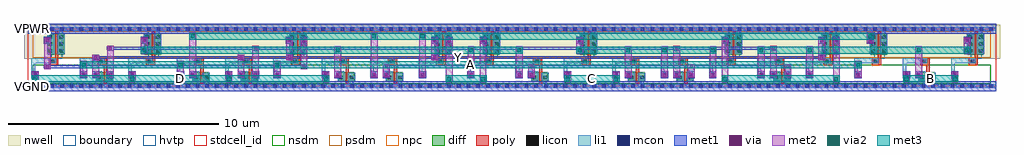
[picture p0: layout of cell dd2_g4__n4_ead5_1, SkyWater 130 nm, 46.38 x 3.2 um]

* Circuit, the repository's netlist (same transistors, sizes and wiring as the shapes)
* Generated reference circuit; dimensions in micrometers.
.subckt dd2_g4__n4_ead5_1 A B C D VGND VNB VPB VPWR Y
XM15 _net7 D VPWR VPB sky130_fd_pr__pfet_01v8_hvt w=1.000 l=0.150
XM8 Y A _net6 VNB sky130_fd_pr__nfet_01v8 w=0.420 l=0.150
XM7 _net4 D VPWR VPB sky130_fd_pr__pfet_01v8_hvt w=1.000 l=0.150
XM4 _net3 A VGND VNB sky130_fd_pr__nfet_01v8 w=0.420 l=0.150
XM9 Y D _net6 VNB sky130_fd_pr__nfet_01v8 w=0.420 l=0.150
XM14 Y A _net7 VPB sky130_fd_pr__pfet_01v8_hvt w=1.000 l=0.150
XM6 _net4 D VGND VNB sky130_fd_pr__nfet_01v8 w=0.420 l=0.150
XM12 _net5 _net3 VGND VNB sky130_fd_pr__nfet_01v8 w=0.420 l=0.150
XM18 Y _net3 _net9 VPB sky130_fd_pr__pfet_01v8_hvt w=1.000 l=0.150
XM19 _net9 _net4 VPWR VPB sky130_fd_pr__pfet_01v8_hvt w=1.000 l=0.150
XM13 _net5 _net4 VGND VNB sky130_fd_pr__nfet_01v8 w=0.420 l=0.150
XM3 _net2 C VPWR VPB sky130_fd_pr__pfet_01v8_hvt w=1.000 l=0.150
XM2 _net2 C VGND VNB sky130_fd_pr__nfet_01v8 w=0.420 l=0.150
XM11 _net6 _net2 _net5 VNB sky130_fd_pr__nfet_01v8 w=0.420 l=0.150
XM17 _net8 _net2 VPWR VPB sky130_fd_pr__pfet_01v8_hvt w=1.000 l=0.150
XM10 _net6 _net1 _net5 VNB sky130_fd_pr__nfet_01v8 w=0.420 l=0.150
XM16 Y _net1 _net8 VPB sky130_fd_pr__pfet_01v8_hvt w=1.000 l=0.150
XM5 _net3 A VPWR VPB sky130_fd_pr__pfet_01v8_hvt w=1.000 l=0.150
XM0 _net1 B VGND VNB sky130_fd_pr__nfet_01v8 w=0.420 l=0.150
XM1 _net1 B VPWR VPB sky130_fd_pr__pfet_01v8_hvt w=1.000 l=0.150
.ends dd2_g4__n4_ead5_1

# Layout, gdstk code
import gdstk
lib = gdstk.Library(unit=1e-6, precision=1e-09)
def R(c, l, rs):  # rectangles x0, y0, x1, y1
    for r in rs: c.add(gdstk.rectangle(r[:2], r[2:], *l))
def A(c, l, x, y, w, h, nx, ny, dx, dy):  # array of equal rectangles
    R(c, l, [(x+i*dx, y+j*dy, x+i*dx+w, y+j*dy+h) for i in range(nx) for j in range(ny)])
nwell = (64, 20)
diff = (65, 20)
poly = (66, 20)
licon = (66, 44)
li1 = (67, 20)
mcon = (67, 44)
met1 = (68, 20)
via = (68, 44)
met2 = (69, 20)
via2 = (69, 44)
met3 = (70, 20)
hvtp = (78, 44)
stdcell_id = (81, 4)
nsdm = (93, 44)
psdm = (94, 20)
npc = (95, 20)
boundary = (235, 4)

dd2_g4__n4_ead5_1 = lib.new_cell('dd2_g4__n4_ead5_1')
R(dd2_g4__n4_ead5_1, nwell, [(-0.19,1.305,46.19,2.91)])
A(dd2_g4__n4_ead5_1, diff, 5.55, 1.485, 0.75, 1, 3, 1, 6.9, 0)
R(dd2_g4__n4_ead5_1, diff, [(3.25,0.235,4,0.655), (7.85,0.235,8.6,0.655), (10.15,0.235,10.9,0.655), (14.75,0.235,15.5,0.655), (17.05,0.235,17.8,0.655), (23.95,0.235,24.7,0.655), (28.55,0.235,29.3,0.655), (30.85,0.235,31.6,0.655), (35.45,0.235,36.2,0.655), (42.35,0.235,43.1,0.655), (0.95,1.485,1.7,2.485), (21.65,1.485,22.4,2.485), (26.25,1.485,27,2.485), (33.15,1.485,33.9,2.485), (37.75,1.485,38.5,2.485), (40.05,1.485,40.8,2.485), (44.65,1.485,45.4,2.485)])
A(dd2_g4__n4_ead5_1, poly, 1.01, 0.995, 0.43, 0.33, 20, 1, 2.3, 0)
A(dd2_g4__n4_ead5_1, poly, 5.89, 0.995, 0.15, 1.62, 3, 1, 6.9, 0)
R(dd2_g4__n4_ead5_1, poly, [(3.59,0.105,3.74,1.325), (8.19,0.105,8.34,1.325), (10.49,0.105,10.64,1.325), (15.09,0.105,15.24,1.325), (17.39,0.105,17.54,1.325), (24.29,0.105,24.44,1.325), (28.89,0.105,29.04,1.325), (31.19,0.105,31.34,1.325), (35.79,0.105,35.94,1.325), (42.69,0.105,42.84,1.325), (1.29,0.995,1.44,2.615), (21.99,0.995,22.14,2.615), (26.59,0.995,26.74,2.615), (33.49,0.995,33.64,2.615), (38.09,0.995,38.24,2.615), (40.39,0.995,40.54,2.615), (44.99,0.995,45.14,2.615)])
A(dd2_g4__n4_ead5_1, licon, 1.09, 1.075, 0.17, 0.17, 20, 1, 2.3, 0)
A(dd2_g4__n4_ead5_1, licon, 0.99, 1.575, 0.17, 0.17, 1, 3, 0, 0.34)
A(dd2_g4__n4_ead5_1, licon, 1.49, 1.575, 0.17, 0.17, 1, 3, 0, 0.34)
A(dd2_g4__n4_ead5_1, licon, 5.59, 1.575, 0.17, 0.17, 1, 3, 0, 0.34)
A(dd2_g4__n4_ead5_1, licon, 6.09, 1.575, 0.17, 0.17, 1, 3, 0, 0.34)
A(dd2_g4__n4_ead5_1, licon, 12.49, 1.575, 0.17, 0.17, 1, 3, 0, 0.34)
A(dd2_g4__n4_ead5_1, licon, 12.99, 1.575, 0.17, 0.17, 1, 3, 0, 0.34)
A(dd2_g4__n4_ead5_1, licon, 19.39, 1.575, 0.17, 0.17, 1, 3, 0, 0.34)
A(dd2_g4__n4_ead5_1, licon, 19.89, 1.575, 0.17, 0.17, 1, 3, 0, 0.34)
A(dd2_g4__n4_ead5_1, licon, 21.69, 1.575, 0.17, 0.17, 1, 3, 0, 0.34)
A(dd2_g4__n4_ead5_1, licon, 22.19, 1.575, 0.17, 0.17, 1, 3, 0, 0.34)
A(dd2_g4__n4_ead5_1, licon, 26.29, 1.575, 0.17, 0.17, 1, 3, 0, 0.34)
A(dd2_g4__n4_ead5_1, licon, 26.79, 1.575, 0.17, 0.17, 1, 3, 0, 0.34)
A(dd2_g4__n4_ead5_1, licon, 33.19, 1.575, 0.17, 0.17, 1, 3, 0, 0.34)
A(dd2_g4__n4_ead5_1, licon, 33.69, 1.575, 0.17, 0.17, 1, 3, 0, 0.34)
A(dd2_g4__n4_ead5_1, licon, 37.79, 1.575, 0.17, 0.17, 1, 3, 0, 0.34)
A(dd2_g4__n4_ead5_1, licon, 38.29, 1.575, 0.17, 0.17, 1, 3, 0, 0.34)
A(dd2_g4__n4_ead5_1, licon, 40.09, 1.575, 0.17, 0.17, 1, 3, 0, 0.34)
A(dd2_g4__n4_ead5_1, licon, 40.59, 1.575, 0.17, 0.17, 1, 3, 0, 0.34)
A(dd2_g4__n4_ead5_1, licon, 44.69, 1.575, 0.17, 0.17, 1, 3, 0, 0.34)
A(dd2_g4__n4_ead5_1, licon, 45.19, 1.575, 0.17, 0.17, 1, 3, 0, 0.34)
R(dd2_g4__n4_ead5_1, licon, [(3.29,0.315,3.46,0.485), (3.79,0.315,3.96,0.485), (7.89,0.315,8.06,0.485), (8.39,0.315,8.56,0.485), (10.19,0.315,10.36,0.485), (10.69,0.315,10.86,0.485), (14.79,0.315,14.96,0.485), (15.29,0.315,15.46,0.485), (17.09,0.315,17.26,0.485), (17.59,0.315,17.76,0.485), (23.99,0.315,24.16,0.485), (24.49,0.315,24.66,0.485), (28.59,0.315,28.76,0.485), (29.09,0.315,29.26,0.485), (30.89,0.315,31.06,0.485), (31.39,0.315,31.56,0.485), (35.49,0.315,35.66,0.485), (35.99,0.315,36.16,0.485), (42.39,0.315,42.56,0.485), (42.89,0.315,43.06,0.485)])
A(dd2_g4__n4_ead5_1, li1, 0.165, 0.38, 0.17, 0.935, 20, 1, 2.3, 0)
A(dd2_g4__n4_ead5_1, li1, 18.585, 0.38, 0.33, 0.33, 3, 1, 2.3, 0)
A(dd2_g4__n4_ead5_1, li1, 36.985, 0.38, 0.33, 0.33, 3, 1, 2.3, 0)
A(dd2_g4__n4_ead5_1, li1, 0.165, 1.075, 1.175, 0.24, 20, 1, 2.3, 0)
A(dd2_g4__n4_ead5_1, li1, 26.79, 1.505, 0.17, 1.3, 3, 1, 6.9, 0)
A(dd2_g4__n4_ead5_1, li1, 5.36, 2.01, 0.48, 0.33, 3, 1, 6.9, 0)
R(dd2_g4__n4_ead5_1, li1, [(0,-0.085,46,0.085), (8.39,-0.085,8.56,0.635), (15.29,-0.085,15.46,0.635), (17.59,-0.085,17.76,0.635), (24.49,-0.085,24.66,0.635), (29.09,-0.085,29.26,0.635), (42.89,-0.085,43.06,0.635), (3.21,0.255,3.54,0.635), (3.71,0.255,4.04,0.635), (7.81,0.255,8.14,0.635), (8.31,0.255,8.64,0.635), (10.11,0.255,10.44,0.635), (10.61,0.255,10.94,0.635), (14.71,0.255,15.04,0.635), (15.21,0.255,15.54,0.635), (17.01,0.255,17.34,0.635), (17.51,0.255,17.84,0.635), (23.91,0.255,24.24,0.635), (24.41,0.255,24.74,0.635), (28.51,0.255,28.84,0.635), (29.01,0.255,29.34,0.635), (30.81,0.255,31.14,0.635), (31.31,0.255,31.64,0.635), (35.41,0.255,35.74,0.635), (35.91,0.255,36.24,0.635), (42.31,0.255,42.64,0.635), (42.81,0.255,43.14,0.635), (0.185,0.38,0.515,0.71), (2.485,0.38,2.815,0.71), (3.06,0.38,3.39,0.71), (3.06,0.38,3.54,0.71), (3.71,0.38,4.08,0.71), (3.75,0.38,4.08,0.71), (4.785,0.38,5.115,0.71), (7.085,0.38,7.415,0.71), (7.66,0.38,7.99,0.71), (7.66,0.38,8.14,0.71), (9.385,0.38,9.715,0.71), (9.96,0.38,10.29,0.71), (9.96,0.38,10.44,0.71), (10.61,0.38,10.98,0.71), (10.65,0.38,10.98,0.71), (11.685,0.38,12.015,0.71), (13.985,0.38,14.315,0.71), (14.56,0.38,14.89,0.71), (14.56,0.38,15.04,0.71), (16.285,0.38,16.615,0.71), (16.86,0.38,17.19,0.71), (16.86,0.38,17.34,0.71), (23.76,0.38,24.09,0.71), (23.76,0.38,24.24,0.71), (25.485,0.38,25.815,0.71), (27.785,0.38,28.115,0.71), (28.36,0.38,28.69,0.71), (28.36,0.38,28.84,0.71), (30.085,0.38,30.415,0.71), (30.66,0.38,30.99,0.71), (30.66,0.38,31.14,0.71), (31.31,0.38,31.68,0.71), (31.35,0.38,31.68,0.71), (32.385,0.38,32.715,0.71), (34.685,0.38,35.015,0.71), (35.26,0.38,35.59,0.71), (35.26,0.38,35.74,0.71), (35.91,0.38,36.28,0.71), (35.95,0.38,36.28,0.71), (42.16,0.38,42.49,0.71), (42.16,0.38,42.64,0.71), (43.885,0.38,44.215,0.71), (0.91,1.505,1.24,2.465), (1.41,1.505,1.74,2.465), (1.49,1.505,1.66,2.805), (5.51,1.505,5.84,2.465), (6.01,1.505,6.34,2.465), (6.09,1.505,6.26,2.805), (12.41,1.505,12.74,2.465), (12.91,1.505,13.24,2.465), (19.31,1.505,19.64,2.465), (19.81,1.505,20.14,2.465), (21.61,1.505,21.94,2.465), (22.11,1.505,22.44,2.465), (22.19,1.505,22.36,2.805), (26.21,1.505,26.54,2.465), (26.71,1.505,27.04,2.465), (33.11,1.505,33.44,2.465), (33.61,1.505,33.94,2.465), (37.71,1.505,38.04,2.465), (38.21,1.505,38.54,2.465), (40.01,1.505,40.34,2.465), (40.51,1.505,40.84,2.465), (44.61,1.505,44.94,2.465), (45.11,1.505,45.44,2.465), (45.19,1.505,45.36,2.805), (0.76,2.01,1.09,2.34), (0.76,2.01,1.24,2.34), (5.36,2.01,5.69,2.34), (12.26,2.01,12.59,2.34), (12.91,2.01,13.28,2.34), (12.95,2.01,13.28,2.34), (19.16,2.01,19.49,2.34), (19.81,2.01,20.18,2.34), (19.85,2.01,20.18,2.34), (21.46,2.01,21.79,2.34), (21.46,2.01,21.94,2.34), (26.06,2.01,26.39,2.34), (26.06,2.01,26.54,2.34), (32.96,2.01,33.29,2.34), (32.96,2.01,33.44,2.34), (37.56,2.01,37.89,2.34), (37.56,2.01,38.04,2.34), (38.21,2.01,38.58,2.34), (38.25,2.01,38.58,2.34), (39.86,2.01,40.19,2.34), (39.86,2.01,40.34,2.34), (44.46,2.01,44.79,2.34), (44.46,2.01,44.94,2.34), (0,2.635,46,2.805)])
A(dd2_g4__n4_ead5_1, mcon, 0.145, -0.085, 0.17, 0.17, 100, 2, 0.46, 2.72)
A(dd2_g4__n4_ead5_1, mcon, 18.665, 0.46, 0.17, 0.17, 3, 1, 2.3, 0)
A(dd2_g4__n4_ead5_1, mcon, 37.065, 0.46, 0.17, 0.17, 3, 1, 2.3, 0)
R(dd2_g4__n4_ead5_1, mcon, [(0.265,0.46,0.435,0.63), (2.565,0.46,2.735,0.63), (3.14,0.46,3.31,0.63), (3.83,0.46,4,0.63), (4.865,0.46,5.035,0.63), (7.165,0.46,7.335,0.63), (7.74,0.46,7.91,0.63), (9.465,0.46,9.635,0.63), (10.04,0.46,10.21,0.63), (10.73,0.46,10.9,0.63), (11.765,0.46,11.935,0.63), (14.065,0.46,14.235,0.63), (14.64,0.46,14.81,0.63), (16.365,0.46,16.535,0.63), (16.94,0.46,17.11,0.63), (23.84,0.46,24.01,0.63), (25.565,0.46,25.735,0.63), (27.865,0.46,28.035,0.63), (28.44,0.46,28.61,0.63), (30.165,0.46,30.335,0.63), (30.74,0.46,30.91,0.63), (31.43,0.46,31.6,0.63), (32.465,0.46,32.635,0.63), (34.765,0.46,34.935,0.63), (35.34,0.46,35.51,0.63), (36.03,0.46,36.2,0.63), (42.24,0.46,42.41,0.63), (43.965,0.46,44.135,0.63), (0.84,2.09,1.01,2.26), (5.44,2.09,5.61,2.26), (12.34,2.09,12.51,2.26), (13.03,2.09,13.2,2.26), (19.24,2.09,19.41,2.26), (19.93,2.09,20.1,2.26), (21.54,2.09,21.71,2.26), (26.14,2.09,26.31,2.26), (33.04,2.09,33.21,2.26), (37.64,2.09,37.81,2.26), (38.33,2.09,38.5,2.26), (39.94,2.09,40.11,2.26), (44.54,2.09,44.71,2.26)])
A(dd2_g4__n4_ead5_1, met1, 18.585, 0.38, 0.33, 0.33, 3, 1, 2.3, 0)
A(dd2_g4__n4_ead5_1, met1, 36.985, 0.38, 0.33, 0.33, 3, 1, 2.3, 0)
R(dd2_g4__n4_ead5_1, met1, [(0,-0.24,46,0.24), (0.185,0.38,0.515,0.71), (2.485,0.38,2.815,0.71), (3.06,0.38,3.39,0.71), (3.75,0.38,4.08,0.71), (4.785,0.38,5.115,0.71), (7.085,0.38,7.415,0.71), (7.66,0.38,7.99,0.71), (9.385,0.38,9.715,0.71), (9.96,0.38,10.29,0.71), (10.65,0.38,10.98,0.71), (11.685,0.38,12.015,0.71), (13.985,0.38,14.315,0.71), (14.56,0.38,14.89,0.71), (16.285,0.38,16.615,0.71), (16.86,0.38,17.19,0.71), (23.76,0.38,24.09,0.71), (25.485,0.38,25.815,0.71), (27.785,0.38,28.115,0.71), (28.36,0.38,28.69,0.71), (30.085,0.38,30.415,0.71), (30.66,0.38,30.99,0.71), (31.35,0.38,31.68,0.71), (32.385,0.38,32.715,0.71), (34.685,0.38,35.015,0.71), (35.26,0.38,35.59,0.71), (35.95,0.38,36.28,0.71), (42.16,0.38,42.49,0.71), (43.885,0.38,44.215,0.71), (16.865,0.545,17.185,0.92), (23.765,0.545,24.085,0.92), (31.355,0.545,31.675,0.92), (35.955,0.545,36.275,0.92), (0.765,0.79,1.085,1.05), (12.955,0.79,13.275,1.05), (16.865,0.79,17.185,1.05), (23.765,0.79,24.085,1.05), (31.355,0.79,31.675,1.05), (35.955,0.79,36.275,1.05), (0.76,0.85,13.28,0.99), (16.86,0.85,36.28,0.99), (3.065,1.23,3.385,1.49), (9.965,1.23,10.285,1.49), (12.265,1.23,12.585,1.49), (19.165,1.23,19.485,1.49), (37.565,1.23,37.885,1.49), (3.06,1.29,37.89,1.43), (3.755,1.67,4.075,1.93), (10.655,1.67,10.975,1.93), (30.665,1.67,30.985,1.93), (35.265,1.67,35.585,1.93), (3.75,1.73,35.59,1.87), (0.76,2.01,1.09,2.34), (5.36,2.01,5.69,2.34), (12.26,2.01,12.59,2.34), (12.95,2.01,13.28,2.34), (19.16,2.01,19.49,2.34), (19.85,2.01,20.18,2.34), (21.46,2.01,21.79,2.34), (26.06,2.01,26.39,2.34), (32.96,2.01,33.29,2.34), (37.56,2.01,37.89,2.34), (38.25,2.01,38.58,2.34), (39.86,2.01,40.19,2.34), (44.46,2.01,44.79,2.34), (0,2.48,46,2.96)])
A(dd2_g4__n4_ead5_1, via, 18.675, 0.47, 0.15, 0.15, 3, 1, 2.3, 0)
A(dd2_g4__n4_ead5_1, via, 37.075, 0.47, 0.15, 0.15, 3, 1, 2.3, 0)
R(dd2_g4__n4_ead5_1, via, [(0.275,0.47,0.425,0.62), (2.575,0.47,2.725,0.62), (3.15,0.47,3.3,0.62), (3.84,0.47,3.99,0.62), (4.875,0.47,5.025,0.62), (7.175,0.47,7.325,0.62), (7.75,0.47,7.9,0.62), (9.475,0.47,9.625,0.62), (10.05,0.47,10.2,0.62), (10.74,0.47,10.89,0.62), (11.775,0.47,11.925,0.62), (14.075,0.47,14.225,0.62), (14.65,0.47,14.8,0.62), (16.375,0.47,16.525,0.62), (16.95,0.47,17.1,0.62), (23.85,0.47,24,0.62), (25.575,0.47,25.725,0.62), (27.875,0.47,28.025,0.62), (28.45,0.47,28.6,0.62), (30.175,0.47,30.325,0.62), (30.75,0.47,30.9,0.62), (31.44,0.47,31.59,0.62), (32.475,0.47,32.625,0.62), (34.775,0.47,34.925,0.62), (35.35,0.47,35.5,0.62), (36.04,0.47,36.19,0.62), (42.25,0.47,42.4,0.62), (43.975,0.47,44.125,0.62), (0.85,0.845,1,0.995), (13.04,0.845,13.19,0.995), (16.95,0.845,17.1,0.995), (23.85,0.845,24,0.995), (31.44,0.845,31.59,0.995), (36.04,0.845,36.19,0.995), (3.15,1.285,3.3,1.435), (10.05,1.285,10.2,1.435), (12.35,1.285,12.5,1.435), (19.25,1.285,19.4,1.435), (37.65,1.285,37.8,1.435), (3.84,1.725,3.99,1.875), (10.74,1.725,10.89,1.875), (30.75,1.725,30.9,1.875), (35.35,1.725,35.5,1.875), (0.85,2.1,1,2.25), (5.45,2.1,5.6,2.25), (12.35,2.1,12.5,2.25), (13.04,2.1,13.19,2.25), (19.25,2.1,19.4,2.25), (19.94,2.1,20.09,2.25), (21.55,2.1,21.7,2.25), (26.15,2.1,26.3,2.25), (33.05,2.1,33.2,2.25), (37.65,2.1,37.8,2.25), (38.34,2.1,38.49,2.25), (39.95,2.1,40.1,2.25), (44.55,2.1,44.7,2.25)])
A(dd2_g4__n4_ead5_1, met2, 0.21, 0.155, 0.28, 0.37, 4, 1, 4.6, 0)
A(dd2_g4__n4_ead5_1, met2, 0.19, 0.21, 0.32, 0.465, 4, 1, 4.6, 0)
A(dd2_g4__n4_ead5_1, met2, 2.49, 0.415, 0.32, 0.735, 3, 1, 4.6, 0)
A(dd2_g4__n4_ead5_1, met2, 18.59, 0.415, 0.32, 0.26, 3, 1, 2.3, 0)
A(dd2_g4__n4_ead5_1, met2, 30.09, 0.415, 0.32, 1.415, 4, 1, 2.3, 0)
A(dd2_g4__n4_ead5_1, met2, 36.99, 0.415, 0.32, 0.26, 3, 1, 2.3, 0)
A(dd2_g4__n4_ead5_1, met2, 2.51, 0.835, 0.28, 0.37, 3, 1, 4.6, 0)
A(dd2_g4__n4_ead5_1, met2, 30.11, 1.515, 0.28, 0.37, 4, 1, 2.3, 0)
R(dd2_g4__n4_ead5_1, met2, [(19.875,0.155,20.155,0.525), (21.485,0.155,21.765,0.525), (25.51,0.155,25.79,0.525), (27.81,0.155,28.09,0.525), (32.985,0.155,33.265,0.525), (38.275,0.155,38.555,0.525), (41.61,0.155,41.89,0.525), (43.91,0.155,44.19,0.525), (19.855,0.21,20.175,2.305), (21.465,0.21,21.785,2.305), (25.49,0.21,25.81,0.675), (27.79,0.21,28.11,0.675), (32.965,0.21,33.285,2.305), (38.255,0.21,38.575,2.305), (41.59,0.21,41.91,0.675), (43.89,0.21,44.21,0.675), (0.19,0.415,0.51,0.675), (2.49,0.415,2.81,0.675), (3.065,0.415,3.385,0.675), (3.065,0.415,3.385,1.49), (3.755,0.415,4.075,0.675), (3.755,0.415,4.075,1.93), (4.79,0.415,5.11,0.675), (7.09,0.415,7.41,0.675), (7.665,0.415,7.985,0.675), (7.665,0.415,7.985,2.51), (9.39,0.415,9.71,0.675), (9.965,0.415,10.285,0.675), (9.965,0.415,10.285,1.49), (10.655,0.415,10.975,0.675), (10.655,0.415,10.975,1.93), (11.69,0.415,12.01,0.675), (13.99,0.415,14.31,0.675), (14.565,0.415,14.885,0.675), (14.565,0.415,14.885,1.83), (16.29,0.415,16.61,0.675), (16.29,0.415,16.61,2.51), (16.865,0.415,17.185,0.675), (16.865,0.415,17.185,1.05), (18.59,0.415,18.91,2.51), (20.89,0.415,21.21,1.83), (23.19,0.415,23.51,1.83), (23.765,0.415,24.085,0.675), (23.765,0.415,24.085,1.05), (25.49,0.415,25.81,0.675), (27.79,0.415,28.11,0.675), (28.365,0.415,28.685,0.675), (28.365,0.415,28.685,1.83), (30.09,0.415,30.41,0.675), (30.665,0.415,30.985,0.675), (30.665,0.415,30.985,1.93), (31.355,0.415,31.675,0.675), (31.355,0.415,31.675,1.05), (32.39,0.415,32.71,0.675), (34.69,0.415,35.01,0.675), (35.265,0.415,35.585,0.675), (35.265,0.415,35.585,1.93), (35.955,0.415,36.275,0.675), (35.955,0.415,36.275,1.05), (39.29,0.415,39.61,1.15), (42.165,0.415,42.485,0.675), (42.165,0.415,42.485,1.83), (43.89,0.415,44.21,0.675), (0.765,0.79,1.085,1.05), (0.765,0.79,1.085,2.305), (12.955,0.79,13.275,1.05), (12.955,0.79,13.275,2.305), (16.865,0.79,17.185,1.05), (23.765,0.79,24.085,1.05), (31.355,0.79,31.675,1.05), (35.955,0.79,36.275,1.05), (39.31,0.835,39.59,1.205), (3.065,1.23,3.385,1.49), (9.965,1.23,10.285,1.49), (12.265,1.23,12.585,1.49), (12.265,1.23,12.585,2.305), (19.165,1.23,19.485,1.49), (19.165,1.23,19.485,2.305), (37.565,1.23,37.885,1.49), (37.565,1.23,37.885,2.305), (5.385,1.515,5.665,1.885), (14.585,1.515,14.865,1.885), (20.91,1.515,21.19,1.885), (23.21,1.515,23.49,1.885), (26.085,1.515,26.365,1.885), (28.385,1.515,28.665,1.885), (42.185,1.515,42.465,1.885), (44.485,1.515,44.765,1.885), (5.365,1.57,5.685,2.305), (26.065,1.57,26.385,2.305), (44.465,1.57,44.785,2.305), (3.755,1.67,4.075,1.93), (10.655,1.67,10.975,1.93), (30.665,1.67,30.985,1.93), (35.265,1.67,35.585,1.93), (0.765,2.045,1.085,2.305), (5.365,2.045,5.685,2.305), (12.265,2.045,12.585,2.305), (12.955,2.045,13.275,2.305), (19.165,2.045,19.485,2.305), (19.855,2.045,20.175,2.305), (21.465,2.045,21.785,2.305), (26.065,2.045,26.385,2.305), (32.965,2.045,33.285,2.305), (37.565,2.045,37.885,2.305), (38.255,2.045,38.575,2.305), (39.865,2.045,40.185,2.305), (39.865,2.045,40.185,2.51), (44.465,2.045,44.785,2.305), (7.685,2.195,7.965,2.565), (16.31,2.195,16.59,2.565), (18.61,2.195,18.89,2.565), (39.885,2.195,40.165,2.565)])
A(dd2_g4__n4_ead5_1, via2, 0.25, 0.24, 0.2, 0.2, 4, 1, 4.6, 0)
A(dd2_g4__n4_ead5_1, via2, 2.55, 0.92, 0.2, 0.2, 3, 1, 4.6, 0)
A(dd2_g4__n4_ead5_1, via2, 30.15, 1.6, 0.2, 0.2, 4, 1, 2.3, 0)
R(dd2_g4__n4_ead5_1, via2, [(19.915,0.24,20.115,0.44), (21.525,0.24,21.725,0.44), (25.55,0.24,25.75,0.44), (27.85,0.24,28.05,0.44), (33.025,0.24,33.225,0.44), (38.315,0.24,38.515,0.44), (41.65,0.24,41.85,0.44), (43.95,0.24,44.15,0.44), (39.35,0.92,39.55,1.12), (5.425,1.6,5.625,1.8), (14.625,1.6,14.825,1.8), (20.95,1.6,21.15,1.8), (23.25,1.6,23.45,1.8), (26.125,1.6,26.325,1.8), (28.425,1.6,28.625,1.8), (42.225,1.6,42.425,1.8), (44.525,1.6,44.725,1.8), (7.725,2.28,7.925,2.48), (16.35,2.28,16.55,2.48), (18.65,2.28,18.85,2.48), (39.925,2.28,40.125,2.48)])
A(dd2_g4__n4_ead5_1, met3, 0.185, 0.175, 0.33, 0.33, 4, 1, 4.6, 0)
A(dd2_g4__n4_ead5_1, met3, 2.485, 0.855, 0.33, 0.33, 3, 1, 4.6, 0)
A(dd2_g4__n4_ead5_1, met3, 30.085, 1.535, 0.33, 0.33, 4, 1, 2.3, 0)
R(dd2_g4__n4_ead5_1, met3, [(0.185,0.175,14.315,0.505), (19.85,0.175,21.79,0.505), (19.85,0.175,20.18,0.505), (21.46,0.175,21.79,0.505), (25.485,0.175,28.115,0.505), (25.485,0.175,25.815,0.505), (27.785,0.175,28.115,0.505), (32.96,0.175,38.58,0.505), (32.96,0.175,33.29,0.505), (38.25,0.175,38.58,0.505), (41.585,0.175,44.215,0.505), (41.585,0.175,41.915,0.505), (43.885,0.175,44.215,0.505), (2.485,0.855,39.615,1.185), (39.285,0.855,39.615,1.185), (5.36,1.535,23.515,1.865), (5.36,1.535,5.69,1.865), (14.56,1.535,14.89,1.865), (20.885,1.535,21.215,1.865), (23.185,1.535,23.515,1.865), (26.06,1.535,32.715,1.865), (26.06,1.535,26.39,1.865), (28.36,1.535,28.69,1.865), (34.685,1.535,44.79,1.865), (42.16,1.535,42.49,1.865), (44.46,1.535,44.79,1.865), (7.66,2.215,40.19,2.545), (7.66,2.215,7.99,2.545), (16.285,2.215,16.615,2.545), (18.585,2.215,18.915,2.545), (39.86,2.215,40.19,2.545)])
A(dd2_g4__n4_ead5_1, hvtp, 5.71, 1.305, 0.51, 1.36, 3, 1, 6.9, 0)
R(dd2_g4__n4_ead5_1, hvtp, [(1.11,1.305,1.62,2.665), (21.81,1.305,22.32,2.665), (26.41,1.305,26.92,2.665), (33.31,1.305,33.82,2.665), (37.91,1.305,38.42,2.665), (40.21,1.305,40.72,2.665), (44.81,1.305,45.32,2.665)])
R(dd2_g4__n4_ead5_1, stdcell_id, [(0,0,46,2.72)])
R(dd2_g4__n4_ead5_1, nsdm, [(0.215,0.11,45.755,1.01)])
R(dd2_g4__n4_ead5_1, psdm, [(0.215,1.36,45.755,2.61)])
A(dd2_g4__n4_ead5_1, npc, 0.99, 0.975, 0.37, 0.37, 20, 1, 2.3, 0)
R(dd2_g4__n4_ead5_1, boundary, [(0,0,46,2.72)])
dd2_g4__n4_ead5_1.add(gdstk.Label('VGND', (0.23,0), layer=68, texttype=5))
dd2_g4__n4_ead5_1.add(gdstk.Label('VPWR', (0.23,2.72), layer=68, texttype=5))
dd2_g4__n4_ead5_1.add(gdstk.Label('Y', (20.475,1.36), layer=68, texttype=5))
dd2_g4__n4_ead5_1.add(gdstk.Label('VPB', (0.23,2.72), layer=64, texttype=5))
dd2_g4__n4_ead5_1.add(gdstk.Label('VNB', (0.23,0), layer=64, texttype=59))
dd2_g4__n4_ead5_1.add(gdstk.Label('D', (7.25,0.34), layer=70, texttype=5))
dd2_g4__n4_ead5_1.add(gdstk.Label('A', (21.05,1.02), layer=70, texttype=5))
dd2_g4__n4_ead5_1.add(gdstk.Label('C', (26.8,0.34), layer=70, texttype=5))
dd2_g4__n4_ead5_1.add(gdstk.Label('B', (42.9,0.34), layer=70, texttype=5))

lib.write_gds('dd2_g4__n4_ead5_1.gds')
